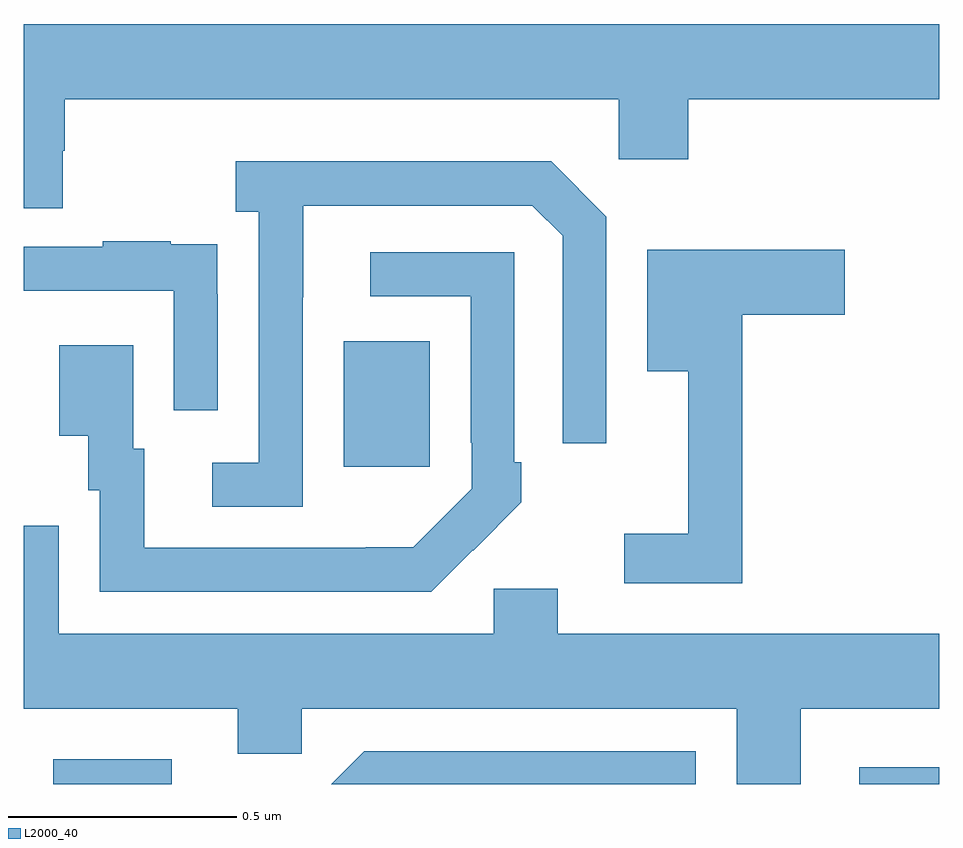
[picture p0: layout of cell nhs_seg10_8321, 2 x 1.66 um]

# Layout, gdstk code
import gdstk
lib = gdstk.Library(unit=1e-6, precision=1e-09)
def R(c, l, rs):  # rectangles x0, y0, x1, y1
    for r in rs: c.add(gdstk.rectangle(r[:2], r[2:], *l))
def P(c, l, *ps):  # polygons
    for p in ps: c.add(gdstk.Polygon(p, *l))
L2000_40 = (2000, 40)

nhs_seg10_8321 = lib.new_cell('nhs_seg10_8321')
R(nhs_seg10_8321, L2000_40, [(215.065,1285.5,215.323,1285.554), (216.825,1285.5,217,1285.537), (215.699,1286.193,215.887,1286.467)])
P(nhs_seg10_8321, L2000_40, [(215.085,1286.883),(215.09,1286.883),(215.09,1286.996),(216.3,1286.996),(216.3,1286.865),(216.452,1286.865),(216.452,1286.996),(217,1286.996),(217,1287.16),(215,1287.16),(215,1286.758),(215.085,1286.758)],
  [(215.61,1286.563),(215.611,1286.563),(215.611,1286.763),(216.111,1286.763),(216.177,1286.697),(216.177,1286.244),(216.273,1286.244),(216.273,1286.739),(216.152,1286.86),(215.463,1286.86),(215.463,1286.75),(215.514,1286.75),(215.514,1286.202),(215.412,1286.202),(215.412,1286.106),(215.61,1286.106)],
  [(215.424,1286.57),(215.423,1286.57),(215.423,1286.679),(215.321,1286.679),(215.321,1286.686),(215.173,1286.686),(215.173,1286.673),(215,1286.673),(215,1286.577),(215.328,1286.577),(215.328,1286.316),(215.424,1286.316)],
  [(216.569,1286.525),(216.793,1286.525),(216.793,1286.667),(216.362,1286.667),(216.362,1286.402),(216.452,1286.402),(216.452,1286.047),(216.312,1286.047),(216.312,1285.938),(216.569,1285.938)],
  [(215.981,1286.011),(215.982,1286.01),(216.087,1286.115),(216.087,1286.203),(216.072,1286.203),(216.072,1286.661),(215.757,1286.661),(215.757,1286.565),(215.976,1286.565),(215.976,1286.245),(215.979,1286.245),(215.979,1286.145),(215.851,1286.017),(215.747,1286.017),(215.747,1286.016),(215.263,1286.016),(215.263,1286.232),(215.239,1286.232),(215.239,1286.458),(215.078,1286.458),(215.078,1286.261),(215.141,1286.261),(215.141,1286.142),(215.166,1286.142),(215.166,1285.92),(215.89,1285.92)],
  [(216.697,1285.664),(217,1285.664),(217,1285.828),(216.166,1285.828),(216.166,1285.926),(216.027,1285.926),(216.027,1285.828),(215.077,1285.828),(215.077,1286.064),(215,1286.064),(215,1285.664),(215.468,1285.664),(215.468,1285.566),(215.607,1285.566),(215.607,1285.664),(216.557,1285.664),(216.557,1285.5),(216.697,1285.5)],
  [(216.468,1285.572),(215.744,1285.572),(215.672,1285.5),(216.468,1285.5)])

lib.write_gds('nhs_seg10_8321.gds')
